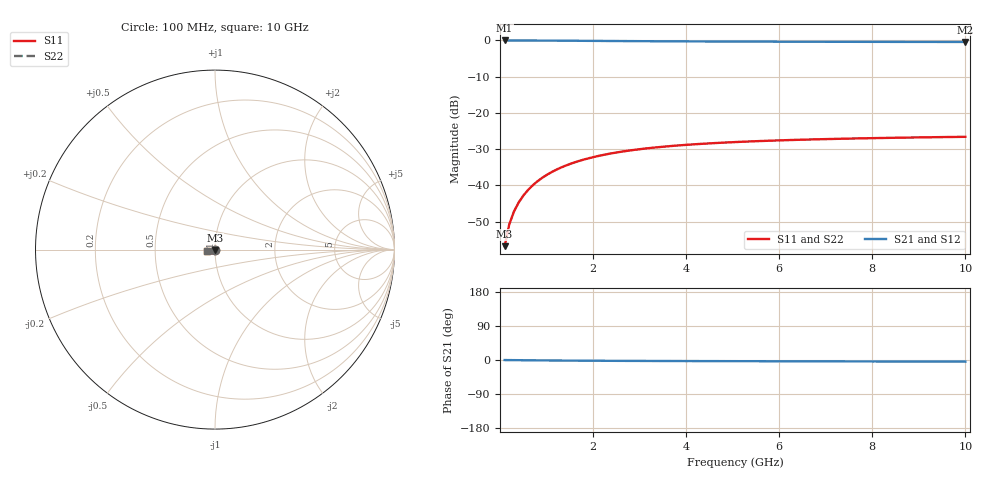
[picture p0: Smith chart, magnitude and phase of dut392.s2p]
! Touchstone file exported from HFSS 2024.1.0
!  File:  C:/UserFiles/LocalFiles/RDL_TSV_Batchsim/temp_TSV1_392_1779624036.aedt
!  Generated:  08:05:48 PM May 24, 2026
!  Design:  TSV1
!  Project:  temp_TSV1_392_1779624036
!  Setup:  Setup1
!  Solution:  Sweep
! Variables:
!  dtsv = 14.67um
!  hbump = 3um
!  htsv = 63.92um
!  lrdl = 252.1521522um
!  p = 40
!  p1 = 55.47um
!  t = 500um
!  trdl = 3um
!  wrdl = 24.89489489um
# GHz S MA R 50.000000
! Terminal data exported
! Port[1] = TSV22_T1
! Port[2] = TSV22_T2
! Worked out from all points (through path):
!   100 points, 100 MHz to 10 GHz, reference 50 ohm
!   highest |S21| = 0.00 dB at 100 MHz (marker M1); lowest = -0.4 dB at 10 GHz (marker M2)
!   lowest |S11| = -56.8 dB at 100 MHz (marker M3), VSWR 1.00, Z = 50 - j0.145 ohm
!   |S11| at or under -10 dB: start of sweep to end of sweep
!   |S22| runs from -56.8 to -26.6 dB; largest |S21 - S12| = 3.3e-15
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0.1  0.001452 -89.1  0.9999 -0.1  0.9999 -0.1  0.001452 -89.1
! Gamma 0 0 0 0
! Port Impedance 50 0 50 0
0.2  0.002903 -92.2  0.9997 -0.2  0.9997 -0.2  0.002903 -92.2
0.3  0.004351 -94.6  0.9995 -0.4  0.9995 -0.4  0.004351 -94.6
0.4  0.005789 -96.7  0.9991 -0.5  0.9991 -0.5  0.005789 -96.7
0.5  0.00721 -98.7  0.9987 -0.6  0.9987 -0.6  0.00721 -98.7
0.6  0.008609 -100.7  0.9981 -0.7  0.9981 -0.7  0.008609 -100.7
0.7  0.009981 -102.6  0.9976 -0.8  0.9976 -0.8  0.009981 -102.6
0.8  0.01132 -104.5  0.9969 -0.9  0.9969 -0.9  0.01132 -104.5
0.9  0.01263 -106.3  0.9962 -1.0  0.9962 -1.0  0.01263 -106.3
1.1  0.01515 -109.9  0.9946 -1.2  0.9946 -1.2  0.01515 -109.9
1.4  0.01863 -114.8  0.992 -1.5  0.992 -1.5  0.01863 -114.8
1.6  0.02075 -117.9  0.9901 -1.7  0.9901 -1.7  0.02075 -117.9
1.8  0.02272 -120.9  0.9882 -1.8  0.9882 -1.8  0.02272 -120.9
2.1  0.02538 -124.9  0.9854 -2.0  0.9854 -2.0  0.02538 -124.9
2.5  0.02844 -129.8  0.9817 -2.2  0.9817 -2.2  0.02844 -129.8
2.9  0.03102 -134.1  0.9784 -2.4  0.9784 -2.4  0.03102 -134.1
3.4  0.03369 -138.8  0.9746 -2.6  0.9746 -2.6  0.03369 -138.8
4.2  0.03701 -145.1  0.9696 -2.9  0.9696 -2.9  0.03701 -145.1
5.1  0.03976 -150.8  0.9652 -3.1  0.9652 -3.1  0.03976 -150.8
6.7  0.04309 -158.7  0.9596 -3.5  0.9596 -3.5  0.04309 -158.7
8.4  0.04536 -165.2  0.9557 -3.9  0.9557 -3.9  0.04536 -165.2
10  0.04684 -170.1  0.9531 -4.3  0.9531 -4.3  0.04684 -170.1
